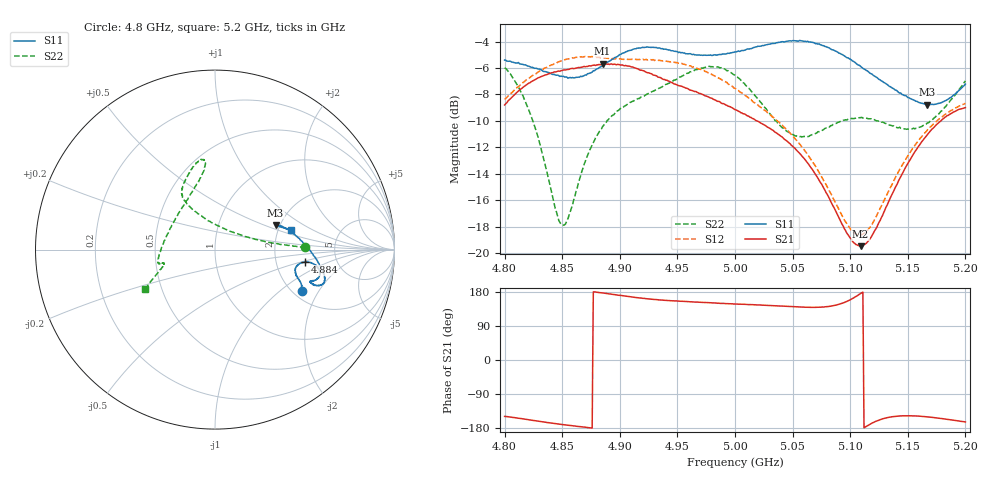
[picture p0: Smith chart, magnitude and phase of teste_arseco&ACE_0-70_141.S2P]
! Network Analyzer HP8722D
! Hewlett-Packard
! Data name: Linha & Wilkinson
! Saver's name: Rodrigo Anjos
! Comments: Teste da utilização de aquisição
! continua pelo VNA HP8722D
! Time and date: 8/5/2025 13:56
!  Frequency  S11  S21  S12  S22
# HZ  S  MA R 50
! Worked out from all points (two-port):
!   401 points, 4.8 GHz to 5.2 GHz, reference 50 ohm
!   highest |S21| = -5.69 dB at 4.885 GHz (marker M1); lowest = -19.5 dB at 5.109 GHz (marker M2)
!   |S21| within 3 dB of the highest: 4.801 GHz to 4.989 GHz (187.7 MHz wide, 3.84 % of centre)
!   lowest |S11| = -8.8 dB at 5.167 GHz (marker M3), VSWR 2.15, Z = 94.7 + j30.1 ohm
!   |S11| at or under -10 dB: nowhere
!   |S22| runs from -17.9 to -5.9 dB; largest |S21 - S12| = 1.1
!   S11 on the Smith chart (normalised r, x): 4.8 GHz: 2.24, -1.45; 4.884 GHz: 2.95, -0.54; 5.2 GHz: 2.33, +0.64
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4.8e9  0.5368 -25.4  0.3634 -148.8  0.3816 10.7  0.5021 1.4
4.812e9  0.5256 -22.4  0.4101 -153.6  0.426 8.9  0.4245 2.7
4.823e9  0.5045 -20.6  0.4444 -158.7  0.4653 7.4  0.33 6.2
4.849e9  0.4673 -16.0  0.4899 -170.0  0.5328 3.1  0.1284 58.1
4.855e9  0.4588 -14.5  0.4947 -172.2  0.542 2.0  0.1352 84.8
4.867e9  0.4648 -11.0  0.5043 -176.5  0.5515 0.5  0.2036 112.0
4.884e9  0.5079 -7.7  0.5171 177.2  0.548 -0.8  0.2948 121.0
4.885e9  0.5122 -7.7  0.5196 177.0  0.5479 -0.8  0.3005 121.5
4.913e9  0.5925 -11.1  0.5016 165.3  0.5405 -0.3  0.3797 119.0
4.934e9  0.5971 -15.5  0.4621 158.5  0.5367 -1.3  0.4203 113.2
4.976e9  0.5596 -18.4  0.3912 151.6  0.4825 -5.1  0.5061 99.2
5e9  0.5763 -19.3  0.3488 147.8  0.4199 -5.3  0.4708 96.9
5.018e9  0.6017 -19.4  0.3176 145.6  0.3687 -2.5  0.3913 103.6
5.043e9  0.6288 -17.6  0.2693 141.9  0.2985 2.9  0.2923 130.2
5.067e9  0.6262 -13.3  0.2077 138.8  0.2227 9.4  0.2807 164.4
5.097e9  0.5485 -3.4  0.1192 154.5  0.1293 35.4  0.3188 -171.1
5.109e9  0.5082 2.2  0.1064 175.3  0.1171 58.6  0.3253 -167.1
5.118e9  0.4769 6.6  0.1147 -168.1  0.1266 76.1  0.3222 -165.8
5.134e9  0.427 14.3  0.1592 -150.9  0.1739 94.6  0.3048 -165.5
5.167e9  0.3646 22.2  0.2803 -150.2  0.2923 102.6  0.3109 -161.4
5.183e9  0.3778 20.0  0.3278 -156.0  0.336 102.7  0.3584 -156.6
5.2e9  0.4356 14.7  0.3551 -163.5  0.3687 102.9  0.4478 -150.4
